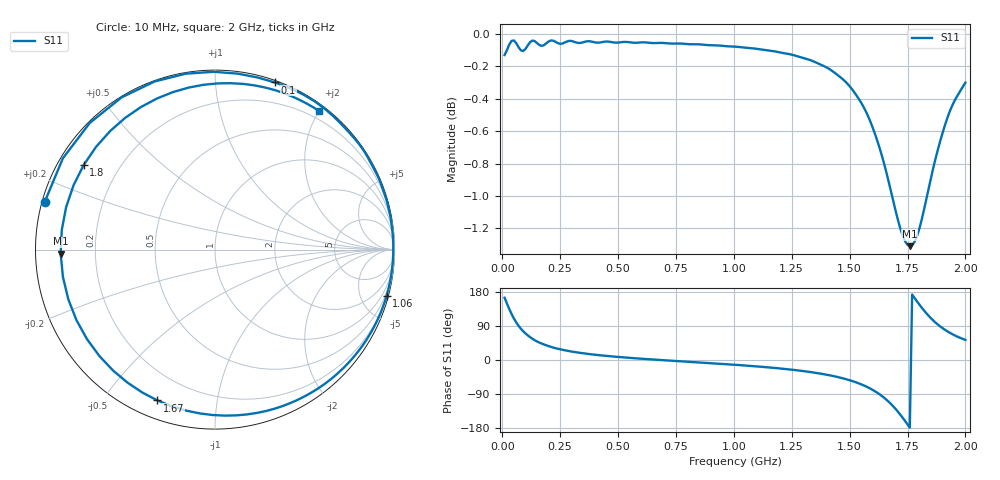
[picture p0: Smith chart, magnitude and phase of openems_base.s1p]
! H_s8_cap_20: PDN loop: BGA pin field to a 0402 capacitor 20 mm away
! stackup: 8-layer 1.6 mm FR-4 (generic)
! ports: 1 IC pins
! openEMS 0.37.0, staircase, base mesh (dfine 0.07 mm), 619974 cells
# Hz S RI R 1
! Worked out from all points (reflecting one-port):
!   200 points, 10 MHz to 2 GHz, reference 1 ohm
!   lowest |S11| = -1.3 dB at 1.76 GHz (marker M1), VSWR 13.29, Z = 0.0752 - j0.0129 ohm
!   phase of S11 starts at 164 deg and turns -471 deg over the sweep
!   S11 on the Smith chart (normalised r, x): 10 MHz: 0.01, +0.14; 100 MHz: 0.02, +1.42; 1.06 GHz: 0.29, -7.56; 1.67 GHz: 0.08, -0.69; 1.8 GHz: 0.08, +0.29; 2 GHz: 0.09, +2.00
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1e7  -0.9482 0.267
3e7  -0.6977 0.7059
5e7  -0.3357 0.937
7e7  -0.00714 0.9906
1e8  0.3347 0.931
1.3e8  0.5552 0.826
1.6e8  0.6896 0.7133
2.6e8  0.8856 0.4496
3.8e8  0.9595 0.2624
5.1e8  0.9854 0.1308
7.6e8  0.9919 -0.0517
1.01e9  0.9662 -0.2199
1.06e9  0.9561 -0.2569
1.26e9  0.8834 -0.4356
1.41e9  0.7484 -0.6259
1.51e9  0.5482 -0.79
1.59e9  0.2337 -0.9099
1.63e9  -0.0111 -0.9218
1.67e9  -0.3205 -0.8406
1.71e9  -0.644 -0.593
1.74e9  -0.8174 -0.2768
1.76e9  -0.8598 -0.0223
1.78e9  -0.8294 0.2367
1.8e9  -0.7316 0.4712
1.84e9  -0.4116 0.795
1.88e9  -0.0639 0.9182
1.94e9  0.3351 0.8881
2e9  0.5806 0.772
